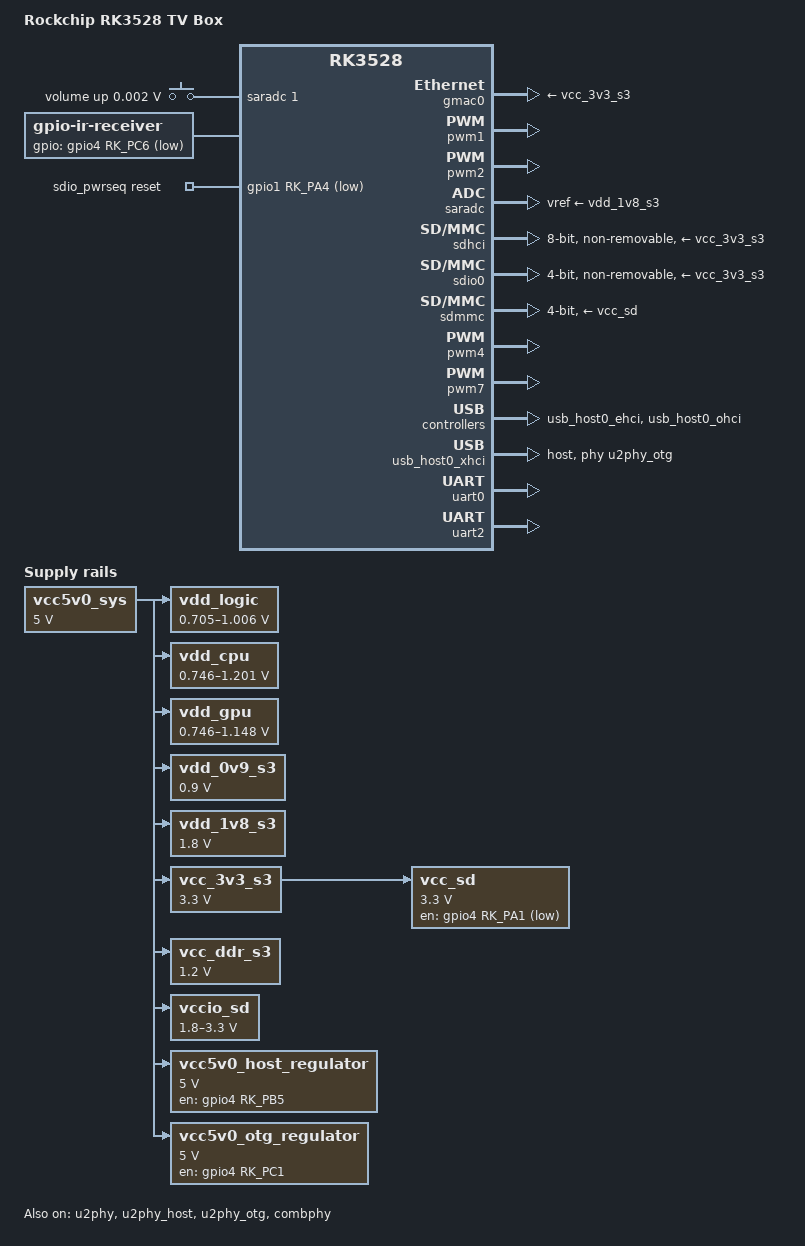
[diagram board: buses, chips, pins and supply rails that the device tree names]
// SPDX-License-Identifier: (GPL-2.0+ OR MIT)
/*
 * Copyright (c) 2023 Rockchip Electronics Co., Ltd.
 *
 */

/dts-v1/;

#include "rk3528.dtsi"
#include <dt-bindings/pwm/pwm.h>
#include <dt-bindings/gpio/gpio.h>
#include <dt-bindings/input/input.h>
#include <dt-bindings/pinctrl/rockchip.h>
#include <dt-bindings/leds/common.h>


/ {
	model = "Rockchip RK3528 TV Box";
	compatible = "rockchip,rk3528-tvbox", "rockchip,rk3528";

	aliases {
		mmc0 = &sdmmc;
		mmc1 = &sdio0;
		mmc2 = &sdhci;
		mmc3 = &sdio1;
		//mmc4 = &sfc;
	};

	chosen: chosen {
		bootargs = "console=ttyS0,1500000";
		stdout-path = &uart0;
	};

	adc_keys: adc-keys {
		status = "okay";
		compatible = "adc-keys";
		io-channels = <&saradc 1>;
		io-channel-names = "buttons";
		keyup-threshold-microvolt = <1800000>;
		poll-interval = <100>;

		vol-up-key {
			label = "volume up";
			linux,code = <KEY_VOLUMEUP>;
			press-threshold-microvolt = <1750>;
		};
	};

	gpio_leds: gpio-leds {
		compatible = "gpio-leds";
	};

	ir-receiver {
		compatible = "gpio-ir-receiver";
		gpios = <&gpio4 RK_PC6 GPIO_ACTIVE_LOW>;
		pinctrl-0 = <&ir_int>;
		pinctrl-names = "default";
	};

	/*
	analog_sound: analog-sound {
		status = "okay";
		compatible = "simple-audio-card";
		simple-audio-card,name = "analog";
		simple-audio-card,format = "i2s";
		simple-audio-card,mclk-fs = <256>;
		simple-audio-card,cpu {
			sound-dai = <&sai2>;
		};
		simple-audio-card,codec {
			sound-dai = <&acodec>;
		};
	};

	hdmi_sound: hdmi-sound {
		compatible = "rockchip,hdmi";
		rockchip,mclk-fs = <128>;
		rockchip,card-name = "hdmi";
		rockchip,cpu = <&sai3>;
		rockchip,codec = <&hdmi>;
		rockchip,jack-det;
	};

	spdif_sound: spdif-sound {
		status = "okay";
		compatible = "simple-audio-card";
		simple-audio-card,name = "spdif";
		simple-audio-card,cpu {
			sound-dai = <&spdif_8ch>;
		};
		simple-audio-card,codec {
			sound-dai = <&spdif_out>;
		};
	};

	spdif_out: spdif-out {
		status = "okay";
		compatible = "linux,spdif-dit";
		#sound-dai-cells = <0>;
	};
	*/

	cpu0_opp_table: cpu0-opp-table {
		compatible = "operating-points-v2";
		opp-shared;

		opp-600000000 {
			opp-hz = <0 600000000>;
			opp-microvolt = <825000 825000 1100000>;
			clock-latency-ns = <40000>;
		};

		opp-816000000 {
			opp-hz = <0 816000000>;
			opp-microvolt = <825000 825000 1100000>;
			clock-latency-ns = <40000>;
		};

		opp-1008000000 {
			opp-hz = <0 1080000000>;
			opp-microvolt = <825000 825000 1100000>;
			clock-latency-ns = <40000>;
		};

		opp-1200000000 {
			opp-hz = <0 1200000000>;
			opp-microvolt = <875000 875000 1100000>;
			clock-latency-ns = <40000>;
		};

		opp-1416000000 {
			opp-hz = <0 1416000000>;
			opp-microvolt = <937500 937500 1100000>;
			clock-latency-ns = <40000>;
		};

		opp-1608000000 {
			opp-hz = <0 1608000000>;
			opp-microvolt = <1012500 1012500 1100000>;
			clock-latency-ns = <40000>;
		};

		opp-1800000000 {
			opp-hz = <0 1800000000>;
			opp-microvolt = <1062500 1062500 1100000>;
			clock-latency-ns = <40000>;
		};

		opp-2016000000 {
			opp-hz = <0 2016000000>;
			opp-microvolt = <1100000 1100000 1100000>;
			clock-latency-ns = <40000>;
		};
	};

	sdio_pwrseq: sdio-pwrseq {
		compatible = "mmc-pwrseq-simple";
		pinctrl-names = "default";
		pinctrl-0 = <&wifi_enable_h &clkm1_32k_out>;
		reset-gpios = <&gpio1 RK_PA4 GPIO_ACTIVE_LOW>;
	};

	vcc5v0_sys: vcc5v0-sys {
		compatible = "regulator-fixed";
		regulator-name = "vcc5v0_sys";
		regulator-always-on;
		regulator-boot-on;
		regulator-min-microvolt = <5000000>;
		regulator-max-microvolt = <5000000>;
	};

	vdd_logic: vdd-logic {
		compatible = "pwm-regulator";
		pwms = <&pwm2 0 5000 PWM_POLARITY_INVERTED>;
		regulator-name = "vdd_logic";
		regulator-min-microvolt = <705000>;
		regulator-max-microvolt = <1006000>;
		regulator-init-microvolt = <900000>;
		regulator-always-on;
		regulator-boot-on;
		regulator-settling-time-up-us = <250>;
		pwm-supply = <&vcc5v0_sys>;
		status = "okay";
	};

	vdd_cpu: vdd-cpu {
		compatible = "pwm-regulator";
		pwms = <&pwm7 0 5000 PWM_POLARITY_INVERTED>;
		regulator-name = "vdd_cpu";
		regulator-min-microvolt = <746000>;
		regulator-max-microvolt = <1201000>;
		regulator-init-microvolt = <953000>;
		regulator-always-on;
		regulator-boot-on;
		regulator-settling-time-up-us = <250>;
		regulator-ramp-delay = <50>;
		pwm-supply = <&vcc5v0_sys>;
		status = "okay";
	};

	vdd_gpu: vdd-gpu {
		compatible = "pwm-regulator";
		pwms = <&pwm4 0 5000 PWM_POLARITY_INVERTED>;
		regulator-name = "vdd_gpu";
		regulator-min-microvolt = <746000>;
		regulator-max-microvolt = <1148000>;
		regulator-init-microvolt = <953000>;
		regulator-always-on;
		regulator-boot-on;
		regulator-settling-time-up-us = <250>;
		regulator-ramp-delay = <50>;
		pwm-supply = <&vcc5v0_sys>;
		status = "okay";
	};

	vdd_0v9_s3: vdd-0v9-s3 {
		compatible = "regulator-fixed";
		regulator-name = "vdd_0v9_s3";
		regulator-always-on;
		regulator-boot-on;
		regulator-min-microvolt = <900000>;
		regulator-max-microvolt = <900000>;
		vin-supply = <&vcc5v0_sys>;
	};

	vdd_1v8_s3: vdd-1v8-s3 {
		compatible = "regulator-fixed";
		regulator-name = "vdd_1v8_s3";
		regulator-always-on;
		regulator-boot-on;
		regulator-min-microvolt = <1800000>;
		regulator-max-microvolt = <1800000>;
		vin-supply = <&vcc5v0_sys>;
	};

	vcc_3v3_s3: vcc-3v3-s3 {
		compatible = "regulator-fixed";
		regulator-name = "vcc_3v3_s3";
		regulator-always-on;
		regulator-boot-on;
		regulator-min-microvolt = <3300000>;
		regulator-max-microvolt = <3300000>;
		vin-supply = <&vcc5v0_sys>;
	};

	vcc_ddr_s3: vcc-ddr-s3 {
		compatible = "regulator-fixed";
		regulator-name = "vcc_ddr_s3";
		regulator-always-on;
		regulator-boot-on;
		regulator-min-microvolt = <1200000>;
		regulator-max-microvolt = <1200000>;
		vin-supply = <&vcc5v0_sys>;
	};

	vcc_sd: vcc-sd {
		compatible = "regulator-fixed";
		gpio = <&gpio4 RK_PA1 GPIO_ACTIVE_LOW>;
		regulator-name = "vcc_sd";
		regulator-min-microvolt = <3300000>;
		regulator-max-microvolt = <3300000>;
		vin-supply = <&vcc_3v3_s3>;
	};

	vccio_sd: vccio-sd {
		compatible = "regulator-gpio";
		regulator-name = "vccio_sd";
		regulator-min-microvolt = <1800000>;
		regulator-max-microvolt = <3300000>;
		regulator-boot-on;
		gpios = <&gpio4 RK_PB6 GPIO_ACTIVE_HIGH>;
		vin-supply = <&vcc5v0_sys>;
		states = <1800000 0x0
			3300000 0x1>;
	};

	vcc5v0_host_regulator: vcc5v0-host-regulator {
		compatible = "regulator-fixed";
		enable-active-high;
		gpios = <&gpio4 RK_PB5 GPIO_ACTIVE_HIGH>;
		pinctrl-names = "default";
		pinctrl-0 = <&vcc5v0_host_en>;
		regulator-name = "vcc5v0_host";
		regulator-min-microvolt = <5000000>;
		regulator-max-microvolt = <5000000>;
		vin-supply = <&vcc5v0_sys>;
	};

	vcc5v0_otg_regulator: vcc5v0-otg-regulator {
		compatible = "regulator-fixed";
		enable-active-high;
		gpios = <&gpio4 RK_PC1 GPIO_ACTIVE_HIGH>;
		pinctrl-names = "default";
		pinctrl-0 = <&vcc5v0_otg_en>;
		regulator-name = "vcc5v0_otg";
		regulator-min-microvolt = <5000000>;
		regulator-max-microvolt = <5000000>;
		vin-supply = <&vcc5v0_sys>;
	};

};

/*
&acodec {
	pa-ctl-gpios = <&gpio0 RK_PA0 GPIO_ACTIVE_HIGH>;
	status = "okay";
};

&display_subsystem {
	memory-region = <&drm_logo>, <&drm_cubic_lut>;
	memory-region-names = "drm-logo", "drm-cubic-lut";
	status = "okay";

	route {
		route_hdmi: route-hdmi {
			status = "okay";
			logo,uboot = "logo.bmp";
			logo,kernel = "logo_kernel.bmp";
			logo,mode = "center";
			charge_logo,mode = "center";
			connect = <&vp0_out_hdmi>;
		};
		route_tve: route-tve {
			status = "okay";
			logo,uboot = "logo.bmp";
			logo,kernel = "logo_kernel.bmp";
			logo,mode = "center";
			charge_logo,mode = "center";
			connect = <&vp1_out_tve>;
		};
	};
};
*/

&cpu0 {
	cpu-supply = <&vdd_cpu>;
	operating-points-v2 = <&cpu0_opp_table>;
};

&cpu1 {
	cpu-supply = <&vdd_cpu>;
	operating-points-v2 = <&cpu0_opp_table>;
};

&cpu2 {
	cpu-supply = <&vdd_cpu>;
	operating-points-v2 = <&cpu0_opp_table>;
};

&cpu3 {
	cpu-supply = <&vdd_cpu>;
	operating-points-v2 = <&cpu0_opp_table>;
};

&gmac0 {
	phy-supply = <&vcc_3v3_s3>;
	status = "okay";
};

&gmac1 {
	status = "disabled";
};

/*
&gpu {
	mali-supply = <&vdd_gpu>;
	status = "okay";
};
*/

/*
&hdmi {
	pinctrl-names = "default\0idle";
	pinctrl-0 = <&hdmi_pins>;
	pinctrl-1 = <&hdmi_pins_idle>;
	status = "okay";
};

&hdmiphy {
	status = "okay";
};

&iep {
	status = "okay";
};

&iep_mmu {
	status = "okay";
};

*/

&pinctrl {
	usb {
		vcc5v0_host_en: vcc5v0-host-en {
			rockchip,pins = <4 RK_PB5 RK_FUNC_GPIO &pcfg_pull_none>;
		};

		vcc5v0_otg_en: vcc5v0-otg-en {
			rockchip,pins = <4 RK_PC1 RK_FUNC_GPIO &pcfg_pull_none>;
		};
	};
};

&pwm1 {
	status = "okay";
};

&pwm2 {
	status = "okay";
};

&pwm3 {
	status = "disabled";
};

/*
&rkvdec {
	status = "okay";
};

&rkvdec_mmu {
	status = "okay";
};

&rkvenc {
	venc-supply = <&vdd_logic>;
	mem-supply = <&vdd_logic>;
	status = "okay";
};

&rkvenc_mmu {
	status = "okay";
};
*/

&rmii0_phy {
	/delete-property/ pinctrl-names;
	/delete-property/ pinctrl-0;
};

/*
&sai0 {
	pinctrl-0 = <&i2s0m0_lrck &i2s0m0_sclk &i2s0m0_sdi &i2s0m0_sdo>;
	status = "disabled";
};

&sai1 {
	status = "disabled";
};

&sai2 {
	status = "okay";
};

&sai3 {
	status = "okay";
};
*/

&saradc {
	status = "okay";
	vref-supply = <&vdd_1v8_s3>;
};

&sdhci {
	bus-width = <8>;
	supports-emmc;
	non-removable;
	fixed-emmc-driver-type = <4>;
	vqmmc-supply = <&vdd_1v8_s3>;
	vmmc-supply = <&vcc_3v3_s3>;
	status = "okay";
};

&sdio0 {
	max-frequency = <200000000>;
	no-sd;
	no-mmc;
	supports-sdio;
	bus-width = <4>;
	disable-wp;
	cap-sd-highspeed;
	cap-sdio-irq;
	keep-power-in-suspend;
	non-removable;
	mmc-pwrseq = <&sdio_pwrseq>;
	pinctrl-names = "default";
	pinctrl-0 = <&sdio0_bus4 &sdio0_cmd &sdio0_clk>;
	vqmmc-supply = <&vdd_1v8_s3>;
	vmmc-supply = <&vcc_3v3_s3>;
	rockchip,default-sample-phase = <90>;
	status = "okay";
};

&sdio1 {
	max-frequency = <200000000>;
	no-sd;
	no-mmc;
	supports-sdio;
	bus-width = <4>;
	disable-wp;
	cap-sd-highspeed;
	cap-sdio-irq;
	keep-power-in-suspend;
	non-removable;
	mmc-pwrseq = <&sdio_pwrseq>;
	pinctrl-names = "default";
	pinctrl-0 = <&sdio1_bus4 &sdio1_cmd &sdio1_clk>;
	vqmmc-supply = <&vdd_1v8_s3>;
	vmmc-supply = <&vcc_3v3_s3>;
	rockchip,default-sample-phase = <90>;
	status = "disabled";
};

&sdmmc {
	bus-width = <4>;
	cap-mmc-highspeed;
	cap-sd-highspeed;
	disable-wp;
	max-frequency = <150000000>;
	pinctrl-names = "default";
	pinctrl-0 = <&sdmmc_clk &sdmmc_cmd &sdmmc_det &sdmmc_bus4>;
	rockchip,default-sample-phase = <90>;
	supports-sd;
	vqmmc-supply = <&vccio_sd>;
	vmmc-supply = <&vcc_sd>;
	status = "okay";
};

/*
&spdif_8ch {
	status = "okay";
};

&tsadc {
	status = "okay";
};

&u2phy_host {
	phy-supply = <&vcc5v0_host>;
	status = "okay";
};

&u2phy_otg {
	vbus-supply = <&vcc5v0_otg>;
	status = "okay";
};

&usb2phy {
	status = "okay";
};

&usb_host0_ehci {
	status = "okay";
};

&usb_host0_ohci {
	status = "okay";
};

&usbdrd30 {
	status = "okay";
};

&usbdrd_dwc3 {
	dr_mode = "otg";
	maximum-speed = "high-speed";
	extcon = <&usb2phy>;
	phys = <&u2phy_otg>;
	phy-names = "usb2-phy";
	snps,dis_u2_susphy_quirk;
	snps,usb2-lpm-disable;
	status = "okay";
};
*/

/*
&vop {
	status = "okay";
	support-multi-area;
};

&vop_mmu {
	status = "okay";
};
*/

&pinctrl {
	pmic {
		pmic_int_l: pmic-int-l {
		rockchip,pins =
			<4 RK_PB2 RK_FUNC_GPIO &pcfg_pull_up>;
		};
	};

	sdio-pwrseq {
		wifi_enable_h: wifi-enable-h {
			rockchip,pins = <1 RK_PA6 RK_FUNC_GPIO &pcfg_pull_none>;
		};
	};

	wireless-wlan {
		wifi_host_wake_irq: wifi-host-wake-irq {
			rockchip,pins = <1 RK_PA7 RK_FUNC_GPIO &pcfg_pull_down>;
		};
	};

	wireless-bluetooth {
		uart2m1_gpios: uart2m1-gpios {
			rockchip,pins = <1 RK_PB2 RK_FUNC_GPIO &pcfg_pull_none>;
		};
		bt_enable_h: bt-enable-h {
			rockchip,pins = <1 RK_PC1 RK_FUNC_GPIO &pcfg_pull_down>;
		};
	};

	usb {

		vcc5v0_host_en: vcc5v0-host-en {
			rockchip,pins = <4 RK_PB5 RK_FUNC_GPIO &pcfg_pull_none>;
		};

		vcc5v0_otg_en: vcc5v0-otg-en {
			rockchip,pins = <4 RK_PC1 RK_FUNC_GPIO &pcfg_pull_none>;
		};
	};

	infrared {
		ir_int: ir-int{
			rockchip,pins = <4 RK_PC6 RK_FUNC_GPIO &pcfg_pull_none>;
		};
	};

	clk {

		clkm0_32k_out: clkm0-32k-out {
			rockchip,pins = <3 RK_PC3 3 &pcfg_pull_none>;
		};

		clkm1_32k_out: clkm1-32k-out {
			rockchip,pins = <1 RK_PC3 1 &pcfg_pull_none>;
		};
	};

};

&sdio0_bus4 {
	rockchip,pins =
		/* sdio0_d0 */
		<1 RK_PA0 1 &pcfg_pull_up_drv_level_8>,
		/* sdio0_d1 */
		<1 RK_PA1 1 &pcfg_pull_up_drv_level_8>,
		/* sdio0_d2 */
		<1 RK_PA2 1 &pcfg_pull_up_drv_level_8>,
		/* sdio0_d3 */
		<1 RK_PA3 1 &pcfg_pull_up_drv_level_8>;
};

&sdio0_clk {
	rockchip,pins =	/* sdio0_clk */
		<1 RK_PA5 1 &pcfg_pull_up_drv_level_8>;
};

&sdio0_cmd {
	rockchip,pins =	/* sdio0_cmd */
		<1 RK_PA4 1 &pcfg_pull_up_drv_level_8>;
};

&pwm2 {
	status = "okay";
};

// Remote controller PWM, disable it to use generic gpio-ir-receiver driver
&pwm3 {
	status = "disabled";
};

&pwm4 {
	status = "okay";
};

&pwm7 {
	status = "okay";
};

&u2phy {
	status = "okay";
};

&u2phy_host {
	phy-supply = <&vcc5v0_host_regulator>;
	status = "okay";
};

&u2phy_otg {
	phy-supply = <&vcc5v0_otg_regulator>;
	status = "okay";
};

&usb_host0_ehci {
	status = "okay";
};

&usb_host0_ohci {
	status = "okay";
};

&combphy {
	#phy-cells = <1>;
	status = "okay";
};

&usb_host0_xhci {
	// maximum-speed = "high-speed";
	dr_mode = "host";
	phys = <&u2phy_otg>, <&combphy 4>;
	phy-names = "usb2-phy", "usb3-phy";
	snps,dis_enblslpm_quirk;
	snps,dis-u1-entry-quirk;
	snps,dis-u2-entry-quirk;
	snps,dis-u2-freeclk-exists-quirk;
	snps,dis-del-phy-power-chg-quirk;
	snps,dis-tx-ipgap-linecheck-quirk;
	snps,xhci-trb-ent-quirk;
	snps,dis_rxdet_inp3_quirk;
	snps,parkmode-disable-hs-quirk;
	snps,parkmode-disable-ss-quirk;
	quirk-skip-phy-init;
	status = "okay";
};

&uart0 {
	pinctrl-0 = <&uart0m0_xfer>;
	status = "okay";
};

&uart2 {
	status = "okay";
	pinctrl-names = "default";
	pinctrl-0 = <&uart2m1_xfer &uart2m1_ctsn>;
};
